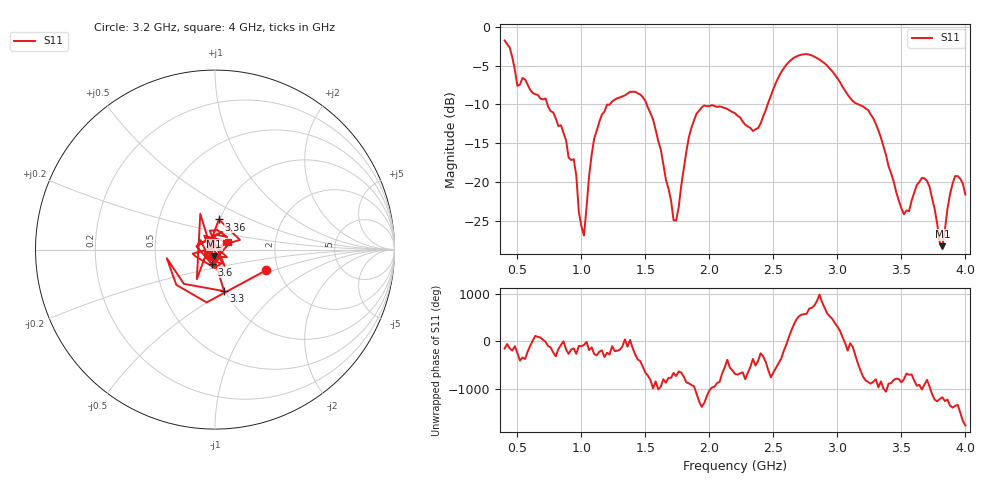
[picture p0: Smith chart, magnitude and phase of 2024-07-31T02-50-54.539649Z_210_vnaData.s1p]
!Created with skrf (http://scikit-rf.org).
# Hz S RI R 50.0
!freq ReS11 ImS11
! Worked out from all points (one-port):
!   181 points, 400 MHz to 4 GHz, reference 50 ohm
!   lowest |S11| = -28.3 dB at 3.82 GHz (marker M1), VSWR 1.08, Z = 49.4 - j3.79 ohm
!   |S11| at or under -10 dB: 734.5 MHz to 1.222 GHz (487.1 MHz wide, 49.8 % of centre); 1.51 GHz to 2.455 GHz (944.5 MHz wide, 47.6 % of centre); 3.165 GHz to end of sweep
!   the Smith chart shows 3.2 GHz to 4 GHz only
!   S11 on the Smith chart (normalised r, x): 3.2 GHz: 1.73, -0.44; 3.3 GHz: 0.99, -0.49; 3.36 GHz: 0.99, +0.34; 3.6 GHz: 0.95, -0.16; 4 GHz: 1.15, +0.10
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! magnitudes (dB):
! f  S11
! 400 MHz  -1.7
! 500 MHz  -7.6
! 860 MHz  -13.6
! 940 MHz  -17.0
! 1.02 GHz  -26.9
! 1.1 GHz  -14.4
! 1.3 GHz  -9.1
! 1.5 GHz  -9.5
! 1.62 GHz  -15.8
! 1.72 GHz  -24.9
! 1.76 GHz  -23.3
! 1.84 GHz  -14.2
! 1.9 GHz  -11.2
! 2.2 GHz  -11.1
! 2.38 GHz  -13.0
! 2.66 GHz  -4.0
! 2.86 GHz  -4.2
! 3.1 GHz  -9.2
! 3.2 GHz  -10.2
! 3.3 GHz  -12.5
! 3.36 GHz  -15.4
! 3.5 GHz  -23.4
! 3.56 GHz  -23.8
! 3.6 GHz  -21.4
! 3.7 GHz  -19.9
! 3.82 GHz  -28.3
! 3.92 GHz  -19.2
! 4 GHz  -21.6
